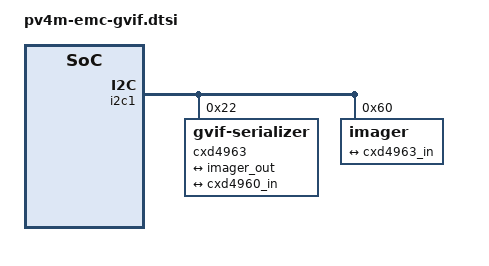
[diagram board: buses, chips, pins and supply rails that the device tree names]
// SPDX-License-Identifier: GPL-2.0+
/*
 * Device Tree Source (overlay) for the WhiteHawk V4H FAKRA connectors
 *
 * Copyright (C) 2022 Renesas Electronics Corp.
 *
 * This overlay allows you to define cameras connected to the FAKRA connectors
 * on the WhiteHawk-V4H (or compatible) board.
 *
 * Enable the cameras by specifying the camera compatible on the appropriate
 * line. Comment out the defines to disconnect the camera from the DTB.
 */

#define PV4M_SER  "sony,cxd4963"
#define PV4M_IMAGER  "sony,imager"

/* Define the endpoint links */
&cxd4960_in {
	remote-endpoint = <&cxd4963_out>;
};

/* Cameras are 'attached' to the GVIF2 I2C busses */

&i2c1 {
	cxd4963: gvif-serializer@22 {
		compatible = PV4M_SER;
		reg = <0x22>;

		ports {
			#address-cells = <1>;
			#size-cells = <0>;

			port@0 {
				reg = <0>;
				cxd4963_in: endpoint {
					remote-endpoint = <&imager_out>;
				};
			};

			port@1 {
				reg = <1>;
				cxd4963_out: endpoint {
					remote-endpoint = <&cxd4960_in>;
				};
			};
		};
	};

	imager@60 {
		compatible = PV4M_IMAGER;
		reg = <0x60>;

		ports {
			#address-cells = <1>;
			#size-cells = <0>;

			port@0 {
				imager_out: endpoint {
					remote-endpoint = <&cxd4963_in>;
				};
			};
		};
	};
};
